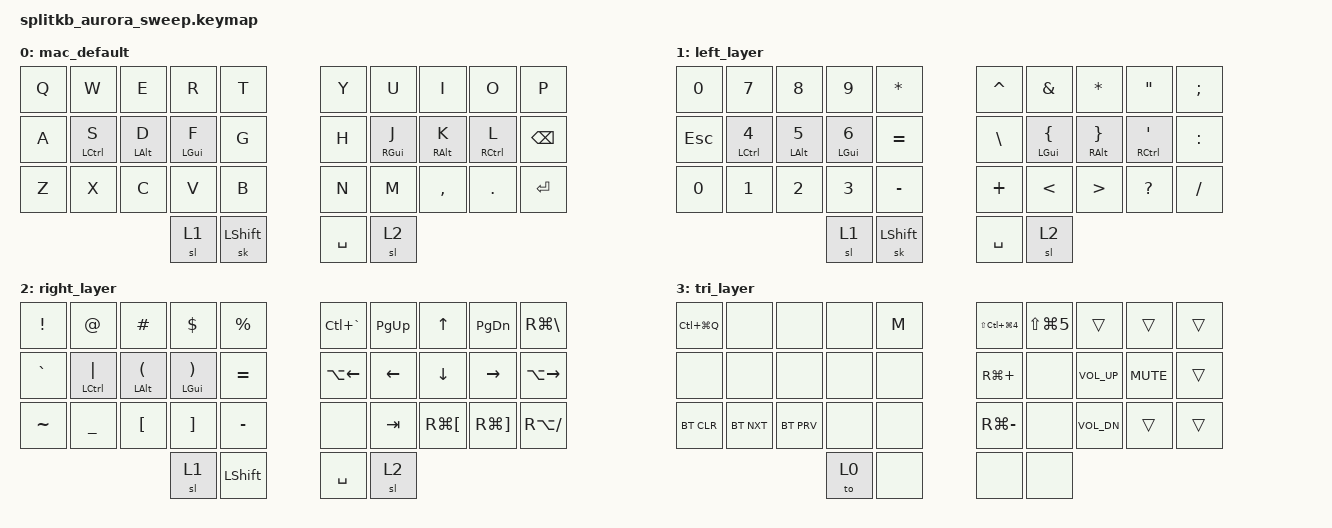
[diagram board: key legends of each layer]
/*
 * Copyright (c) 2022 The ZMK Contributors
 *
 * SPDX-License-Identifier: MIT
 */

#include <behaviors.dtsi>
#include <dt-bindings/zmk/bt.h>
#include <dt-bindings/zmk/keys.h>

&mt {
    //  flavor = "tap-preferred";
    // tapping_term_ms = <200>;
};

/ {
    combos {
        compatible = "zmk,combos";

        to_mac_tri_layer {
            bindings = <&to 3>;
            key-positions = <24 25>;
            layers = <0>;
            require-prior-idle-ms = <100>;
        };
    };

    behaviors {
        bhm: bhm {
            compatible = "zmk,behavior-hold-tap";
            label = "balanced_homerow_mod";
            bindings = <&kp>, <&kp>;

            #binding-cells = <2>;
            tapping-term-ms = <200>;
            quick-tap-ms = <0>;
            flavor = "balanced";
        };
    };

    keymap {
        compatible = "zmk,keymap";

        mac_default {
            bindings = <
&kp Q  &kp W         &kp E        &kp R        &kp T    &kp Y  &kp U        &kp I        &kp O         &kp P
&kp A  &bhm LCTRL S  &bhm LALT D  &bhm LGUI F  &kp G    &kp H  &bhm RGUI J  &bhm RALT K  &bhm RCTRL L  &kp BACKSPACE
&kp Z  &kp X         &kp C        &kp V        &kp B    &kp N  &kp M        &kp COMMA    &kp DOT       &kp ENTER
&sl 1  &sk LSHIFT                                                                        &kp SPACE     &sl 2
            >;
        };

        left_layer {
            bindings = <
&kp N0   &kp N7          &kp N8        &kp N9              &kp ASTRK    &kp CARET  &kp AMPS        &kp ASTRK       &kp DQT         &kp SEMI
&kp ESC  &bhm LCTRL N4   &bhm LALT N5  &bhm LGUI NUMBER_6  &kp EQUAL    &kp BSLH   &bhm LGUI LBRC  &bhm RALT RBRC  &bhm RCTRL SQT  &kp COLON
&kp N0   &kp N1          &kp N2        &kp N3              &kp MINUS    &kp PLUS   &kp LT          &kp GT          &kp QMARK       &kp SLASH
&sl 1    &sk LEFT_SHIFT                                                                                            &kp SPACE       &sl 2
            >;
        };

        right_layer {
            bindings = <
&kp EXCL   &kp AT           &kp HASH        &kp DLLR        &kp PERCENT    &kp LC(GRAVE)  &kp PAGE_UP  &kp UP        &kp PAGE_DOWN  &kp RG(BSLH)
&kp GRAVE  &bhm LCTRL PIPE  &bhm LALT LPAR  &bhm LGUI RPAR  &kp EQUAL      &kp LA(LEFT)   &kp LEFT     &kp DOWN      &kp RIGHT      &kp LA(RIGHT)
&kp TILDE  &kp UNDER        &kp LBKT        &kp RBKT        &kp MINUS      &none          &kp TAB      &kp RG(LBKT)  &kp RG(RBKT)   &kp RA(SLASH)
&sl 1      &kp LSHFT                                                                                                 &kp SPACE      &sl 2
            >;
        };

        tri_layer {
            bindings = <
&kp LC(LG(Q))  &none       &none       &none  &kp M    &kp LS(LC(LG(NUMBER_4)))  &kp LS(LG(N5))  &trans        &trans      &trans
&none          &none       &none       &none  &none    &kp RG(PLUS)              &none           &kp K_VOL_UP  &kp K_MUTE  &trans
&bt BT_CLR     &bt BT_NXT  &bt BT_PRV  &none  &none    &kp RG(MINUS)             &none           &kp K_VOL_DN  &trans      &trans
&to 0          &none                                                                                           &none       &none
            >;
        };
    };
};

/*
 * ============================ VISUAL LAYOUT ============================
 *
 * Legend:
 *   Home-row mods (held)  →  ⌃ Ctrl   ⌥ Alt   ⌘ Cmd/Gui   ⇧ Shift
 *   e.g. "S⌃" = tap S, hold Ctrl.   Symbol shown is the TAP action.
 *   ·  = none/disabled        ▽  = transparent (falls through to layer below)
 *   L1 / L2 = momentary/sticky layer switch       →L0 = back to base layer
 *
 *
 * ---- mac_default (base) ----
 *
 *   Q    | W    | E    | R    | T    ||  Y    | U    | I    | O    | P
 *   A    | S⌃   | D⌥   | F⌘   | G    ||  H    | J⌘   | K⌥   | L⌃   | BSPC
 *   Z    | X    | C    | V    | B    ||  N    | M    | ,    | .    | ENT
 *                        L1   | ⇧    ||  SPC  | L2
 *
 *
 * ---- left_layer (L1: numbers / symbols) ----
 *
 *   0    | 7    | 8    | 9    | *    ||  ^    | &    | *    | "    | ;
 *   ESC  | 4⌃   | 5⌥   | 6⌘   | =    ||  \    | {⌘   | }⌥   | '⌃   | :
 *   0    | 1    | 2    | 3    | -    ||  +    | <    | >    | ?    | /
 *                        L1   | ⇧    ||  SPC  | L2
 *
 *
 * ---- right_layer (L2: symbols / navigation) ----
 *
 *   !      | @      | #      | $      | %      ||  Ctrl+` | PgUp   | ↑      | PgDn   | Gui+\
 *   `      | pipe⌃  | (⌥     | )⌘     | =      ||  ⌥←     | ←      | ↓      | →      | ⌥→
 *   ~      | _      | [      | ]      | -      ||  ·      | TAB    | Gui+[  | Gui+]  | Alt+/
 *                              L1     | ⇧      ||  SPC    | L2
 *
 *
 * ---- tri_layer (L3: media / bluetooth / system) ----
 *
 *   C+G+Q   | ·       | ·       | ·       | M       ||  S+C+G+4 | S+G+5   | ▽       | ▽       | ▽
 *   ·       | ·       | ·       | ·       | ·       ||  Gui++   | ·       | Vol+    | Mute    | ▽
 *   BTclr   | BTnxt   | BTprv   | ·       | ·       ||  Gui+-   | ·       | Vol-    | ▽       | ▽
 *                                 →L0     | ·       ||  ·       | ·
 *
 *   (S+C+G+4 / S+G+5 = macOS screenshot shortcuts)
 *
 * ======================================================================
 */
